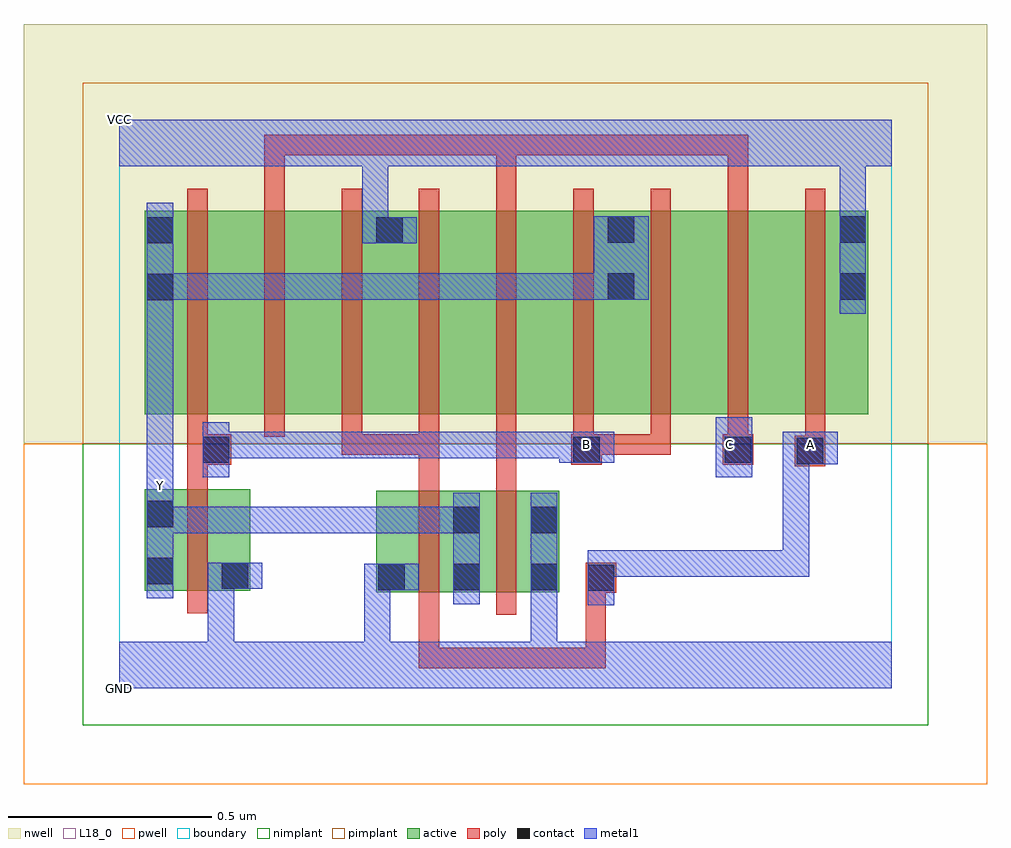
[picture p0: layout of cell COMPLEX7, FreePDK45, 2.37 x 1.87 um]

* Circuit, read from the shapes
.subckt COMPLEX7 A B C GND VCC Y
M1 GND B Y VSUBS nfet w=0.25u l=0.05u
M2 Y A GND VSUBS nfet w=0.25u l=0.05u
M3 GND C Y VSUBS nfet w=0.25u l=0.05u
M4 n1 B Y n2 pfet w=0.5u l=0.05u
M5 n3 C n1 n2 pfet w=0.5u l=0.05u
M6 VCC A n3 n2 pfet w=0.5u l=0.05u
M7 n4 A VCC n2 pfet w=0.5u l=0.05u
M8 n5 C n4 n2 pfet w=0.5u l=0.05u
M9 Y B n5 n2 pfet w=0.5u l=0.05u
M10 n6 B Y n2 pfet w=0.5u l=0.05u
M11 n7 C n6 n2 pfet w=0.5u l=0.05u
M12 VCC A n7 n2 pfet w=0.5u l=0.05u
.ends

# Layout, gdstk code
import gdstk
lib = gdstk.Library(unit=1e-6, precision=1e-09)
def R(c, l, rs):  # rectangles x0, y0, x1, y1
    for r in rs: c.add(gdstk.rectangle(r[:2], r[2:], *l))
def A(c, l, x, y, w, h, nx, ny, dx, dy):  # array of equal rectangles
    R(c, l, [(x+i*dx, y+j*dy, x+i*dx+w, y+j*dy+h) for i in range(nx) for j in range(ny)])
active = (1, 0)
pwell = (2, 0)
nwell = (3, 0)
nimplant = (4, 0)
pimplant = (5, 0)
poly = (9, 0)
contact = (10, 0)
metal1 = (11, 0)
L18_0 = (18, 0)
boundary = (235, 0)

complex7 = lib.new_cell('COMPLEX7')
A(complex7, active, 0.287, 0.675, 0.19, 0.5, 3, 1, 0.57, 0)
A(complex7, active, 0.477, 0.675, 0.225, 0.5, 3, 1, 0.57, 0)
R(complex7, active, [(0.632,0.237,0.707,0.487), (0.632,0.237,0.892,0.487), (0.817,0.237,1.082,0.487), (0.817,0.237,0.892,0.452), (1.007,0.237,1.082,0.487), (0.062,0.24,0.137,0.49), (0.062,0.24,0.322,0.49), (0.247,0.24,0.322,0.49), (0.062,0.675,0.287,1.175), (0.062,0.675,0.137,1.165), (0.627,0.675,0.857,1.175), (1.197,0.675,1.427,1.175), (1.767,0.675,1.842,1.167), (0.627,0.682,0.702,1.175), (1.197,0.682,1.272,1.175)])
R(complex7, pwell, [(-0.235,-0.235,2.135,0.602)])
R(complex7, nwell, [(-0.235,0.602,2.135,1.635)])
R(complex7, nimplant, [(-0.09,-0.09,1.99,0.602)])
R(complex7, pimplant, [(-0.09,0.602,1.99,1.49)])
A(complex7, poly, 0.547, 0.575, 0.05, 0.05, 3, 1, 0.19, 0)
A(complex7, poly, 0.547, 0.575, 0.05, 0.095, 6, 1, 0.19, 0)
A(complex7, poly, 0.167, 0.62, 0.05, 0.61, 9, 1, 0.19, 0)
A(complex7, poly, 0.357, 1.18, 0.05, 0.182, 3, 1, 0.57, 0)
R(complex7, poly, [(0.737,0.05,0.787,0.232), (0.737,0.05,0.787,0.1), (0.737,0.05,0.787,0.1), (0.737,0.05,0.787,0.1), (0.737,0.05,1.03,0.1), (0.98,0.05,1.03,0.1), (0.98,0.05,1.03,0.1), (0.98,0.05,1.03,0.1), (0.98,0.05,1.197,0.1), (1.147,0.05,1.197,0.1), (1.147,0.05,1.197,0.285), (0.737,0.182,0.787,0.542), (0.927,0.182,0.977,0.542), (0.167,0.185,0.217,0.545), (1.147,0.235,1.222,0.31), (0.737,0.492,0.787,0.625), (0.927,0.492,0.977,0.625), (0.167,0.495,0.217,0.6), (1.662,0.547,1.737,0.622), (0.167,0.55,0.275,0.625), (1.112,0.55,1.187,0.625), (1.485,0.55,1.56,0.625), (1.687,0.572,1.737,0.67), (0.167,0.575,0.217,0.67), (0.547,0.575,0.597,0.625), (0.547,0.575,0.597,0.625), (0.547,0.575,0.787,0.625), (1.137,0.575,1.357,0.625), (1.307,0.575,1.357,0.625), (1.307,0.575,1.357,0.625), (1.307,0.575,1.357,0.625), (0.357,1.312,0.407,1.362), (0.357,1.312,0.407,1.362), (0.357,1.312,0.407,1.362), (0.357,1.312,0.655,1.362), (0.605,1.312,0.655,1.362), (0.605,1.312,0.655,1.362), (0.605,1.312,0.655,1.362), (0.605,1.312,0.845,1.362), (0.795,1.312,0.845,1.362), (0.795,1.312,0.845,1.362), (0.795,1.312,0.845,1.362), (0.795,1.312,0.977,1.362), (0.927,1.312,0.977,1.362), (0.927,1.312,0.977,1.362), (0.927,1.312,0.977,1.362), (0.927,1.312,1.187,1.362), (1.137,1.312,1.187,1.362), (1.137,1.312,1.187,1.362), (1.137,1.312,1.187,1.362), (1.137,1.312,1.32,1.362), (1.27,1.312,1.32,1.362), (1.27,1.312,1.547,1.362), (1.497,1.312,1.547,1.362), (1.497,1.312,1.547,1.362), (1.497,1.312,1.547,1.362)])
R(complex7, contact, [(1.152,0.24,1.217,0.305), (0.637,0.242,0.702,0.307), (0.822,0.242,0.887,0.307), (1.012,0.242,1.077,0.307), (0.252,0.245,0.317,0.31), (0.067,0.257,0.132,0.322), (0.822,0.382,0.887,0.447), (1.012,0.382,1.077,0.447), (0.067,0.397,0.132,0.462), (1.667,0.552,1.732,0.617), (0.205,0.555,0.27,0.62), (1.117,0.555,1.182,0.62), (1.49,0.555,1.555,0.62), (0.067,0.955,0.132,1.02), (1.202,0.957,1.267,1.022), (1.772,0.957,1.837,1.022), (0.067,1.095,0.132,1.16), (0.632,1.095,0.697,1.16), (1.202,1.097,1.267,1.162), (1.772,1.097,1.837,1.162)])
R(complex7, metal1, [(0,0,1.9,0.115), (0.217,0.05,0.282,0.115), (0.217,0.05,0.282,0.115), (0.217,0.05,0.282,0.31), (0.602,0.05,0.667,0.115), (0.602,0.05,0.667,0.115), (0.602,0.05,0.667,0.307), (1.012,0.05,1.077,0.115), (1.012,0.05,1.077,0.115), (1.012,0.05,1.077,0.115), (1.012,0.05,1.077,0.115), (1.012,0.05,1.077,0.272), (1.152,0.205,1.217,0.34), (0.822,0.207,0.887,0.482), (1.012,0.207,1.077,0.482), (0.067,0.222,0.132,0.497), (0.602,0.242,0.667,0.307), (0.602,0.242,0.667,0.307), (0.602,0.242,0.737,0.307), (0.217,0.245,0.282,0.31), (0.217,0.245,0.282,0.31), (0.217,0.245,0.352,0.31), (1.152,0.275,1.217,0.34), (1.152,0.275,1.217,0.34), (1.152,0.275,1.217,0.34), (1.152,0.275,1.217,0.34), (1.152,0.275,1.37,0.34), (1.305,0.275,1.37,0.34), (1.305,0.275,1.537,0.34), (1.472,0.275,1.537,0.34), (1.472,0.275,1.537,0.34), (1.472,0.275,1.537,0.34), (1.472,0.275,1.697,0.34), (1.632,0.275,1.697,0.34), (1.632,0.275,1.697,0.617), (0.067,0.382,0.132,0.447), (0.067,0.382,0.132,0.447), (0.067,0.382,0.27,0.447), (0.205,0.382,0.27,0.447), (0.205,0.382,0.42,0.447), (0.355,0.382,0.42,0.447), (0.355,0.382,0.42,0.447), (0.355,0.382,0.42,0.447), (0.355,0.382,0.735,0.447), (0.67,0.382,0.735,0.447), (0.67,0.382,0.735,0.447), (0.67,0.382,0.735,0.447), (0.67,0.382,0.872,0.447), (0.807,0.382,0.872,0.447), (0.807,0.382,0.887,0.447), (0.067,0.432,0.132,0.497), (0.067,0.432,0.132,0.567), (0.067,0.502,0.132,0.985), (0.205,0.52,0.27,0.655), (1.467,0.52,1.557,0.667), (1.632,0.552,1.697,0.617), (1.632,0.552,1.697,0.617), (1.632,0.552,1.767,0.632), (1.082,0.555,1.217,0.632), (0.205,0.567,0.27,0.632), (0.205,0.567,0.27,0.632), (0.205,0.567,0.42,0.632), (0.355,0.567,0.42,0.632), (0.355,0.567,0.42,0.632), (0.355,0.567,0.42,0.632), (0.355,0.567,0.557,0.632), (0.492,0.567,0.557,0.632), (0.492,0.567,0.557,0.632), (0.492,0.567,0.557,0.632), (0.492,0.567,0.872,0.632), (0.807,0.567,0.872,0.632), (0.807,0.567,0.872,0.632), (0.807,0.567,0.872,0.632), (0.807,0.567,1.01,0.632), (0.945,0.567,1.01,0.632), (0.945,0.567,1.01,0.632), (0.945,0.567,1.01,0.632), (0.945,0.567,1.147,0.632), (0.067,0.92,0.132,1.195), (1.772,0.922,1.837,1.197), (0.067,0.957,0.132,1.022), (0.067,0.957,0.132,1.022), (0.067,0.957,0.27,1.022), (0.205,0.957,0.27,1.022), (0.205,0.957,0.407,1.022), (0.342,0.957,0.407,1.022), (0.342,0.957,0.407,1.022), (0.342,0.957,0.407,1.022), (0.342,0.957,0.735,1.022), (0.67,0.957,0.735,1.022), (0.67,0.957,0.735,1.022), (0.67,0.957,0.735,1.022), (0.67,0.957,0.872,1.022), (0.807,0.957,0.872,1.022), (0.807,0.957,0.872,1.022), (0.807,0.957,0.872,1.022), (0.807,0.957,1.01,1.022), (0.945,0.957,1.01,1.022), (0.945,0.957,1.01,1.022), (0.945,0.957,1.01,1.022), (0.945,0.957,1.232,1.022), (1.167,0.957,1.232,1.022), (1.167,0.957,1.232,1.022), (1.167,0.957,1.302,1.162), (0.597,1.095,0.662,1.16), (0.597,1.095,0.662,1.16), (0.597,1.095,0.662,1.35), (0.597,1.095,0.732,1.16), (1.772,1.132,1.837,1.35), (0,1.285,1.9,1.4), (1.772,1.285,1.837,1.35), (1.772,1.285,1.837,1.35)])
R(complex7, L18_0, [(0,0,1.9,0.115), (0.217,0.05,0.282,0.115), (0.217,0.05,0.282,0.115), (0.217,0.05,0.282,0.31), (0.602,0.05,0.667,0.115), (0.602,0.05,0.667,0.115), (0.602,0.05,0.667,0.307), (1.012,0.05,1.077,0.115), (1.012,0.05,1.077,0.115), (1.012,0.05,1.077,0.115), (1.012,0.05,1.077,0.115), (1.012,0.05,1.077,0.272), (1.152,0.205,1.217,0.34), (0.822,0.207,0.887,0.482), (1.012,0.207,1.077,0.482), (0.067,0.222,0.132,0.497), (0.602,0.242,0.667,0.307), (0.602,0.242,0.667,0.307), (0.602,0.242,0.737,0.307), (0.217,0.245,0.282,0.31), (0.217,0.245,0.282,0.31), (0.217,0.245,0.352,0.31), (1.152,0.275,1.217,0.34), (1.152,0.275,1.217,0.34), (1.152,0.275,1.217,0.34), (1.152,0.275,1.217,0.34), (1.152,0.275,1.37,0.34), (1.305,0.275,1.37,0.34), (1.305,0.275,1.537,0.34), (1.472,0.275,1.537,0.34), (1.472,0.275,1.537,0.34), (1.472,0.275,1.537,0.34), (1.472,0.275,1.697,0.34), (1.632,0.275,1.697,0.34), (1.632,0.275,1.697,0.617), (0.067,0.382,0.132,0.447), (0.067,0.382,0.132,0.447), (0.067,0.382,0.27,0.447), (0.205,0.382,0.27,0.447), (0.205,0.382,0.42,0.447), (0.355,0.382,0.42,0.447), (0.355,0.382,0.42,0.447), (0.355,0.382,0.42,0.447), (0.355,0.382,0.735,0.447), (0.67,0.382,0.735,0.447), (0.67,0.382,0.735,0.447), (0.67,0.382,0.735,0.447), (0.67,0.382,0.872,0.447), (0.807,0.382,0.872,0.447), (0.807,0.382,0.887,0.447), (0.067,0.432,0.132,0.567), (0.067,0.432,0.132,0.497), (0.067,0.467,0.132,0.532), (0.067,0.502,0.132,0.985), (0.205,0.52,0.27,0.655), (1.467,0.52,1.557,0.667), (1.632,0.552,1.697,0.617), (1.632,0.552,1.697,0.617), (1.632,0.552,1.767,0.632), (1.082,0.555,1.217,0.632), (0.205,0.567,0.27,0.632), (0.205,0.567,0.27,0.632), (0.205,0.567,0.42,0.632), (0.355,0.567,0.42,0.632), (0.355,0.567,0.42,0.632), (0.355,0.567,0.42,0.632), (0.355,0.567,0.557,0.632), (0.492,0.567,0.557,0.632), (0.492,0.567,0.557,0.632), (0.492,0.567,0.557,0.632), (0.492,0.567,0.872,0.632), (0.807,0.567,0.872,0.632), (0.807,0.567,0.872,0.632), (0.807,0.567,0.872,0.632), (0.807,0.567,1.01,0.632), (0.945,0.567,1.01,0.632), (0.945,0.567,1.01,0.632), (0.945,0.567,1.01,0.632), (0.945,0.567,1.147,0.632), (1.117,0.567,1.182,0.632), (1.467,0.567,1.532,0.632), (1.667,0.567,1.732,0.632), (0.067,0.92,0.132,1.195), (1.772,0.922,1.837,1.197), (0.067,0.957,0.132,1.022), (0.067,0.957,0.132,1.022), (0.067,0.957,0.27,1.022), (0.205,0.957,0.27,1.022), (0.205,0.957,0.407,1.022), (0.342,0.957,0.407,1.022), (0.342,0.957,0.407,1.022), (0.342,0.957,0.407,1.022), (0.342,0.957,0.735,1.022), (0.67,0.957,0.735,1.022), (0.67,0.957,0.735,1.022), (0.67,0.957,0.735,1.022), (0.67,0.957,0.872,1.022), (0.807,0.957,0.872,1.022), (0.807,0.957,0.872,1.022), (0.807,0.957,0.872,1.022), (0.807,0.957,1.01,1.022), (0.945,0.957,1.01,1.022), (0.945,0.957,1.01,1.022), (0.945,0.957,1.01,1.022), (0.945,0.957,1.232,1.022), (1.167,0.957,1.232,1.022), (1.167,0.957,1.232,1.022), (1.167,0.957,1.302,1.162), (0.597,1.095,0.662,1.16), (0.597,1.095,0.662,1.16), (0.597,1.095,0.732,1.16), (0.597,1.095,0.662,1.35), (1.772,1.132,1.837,1.35), (0,1.285,1.9,1.4), (1.772,1.285,1.837,1.35), (1.772,1.285,1.837,1.35)])
R(complex7, boundary, [(0,0,1.9,1.4)])
complex7.add(gdstk.Label('A', (1.7,0.6), layer=11, texttype=0))
complex7.add(gdstk.Label('B', (1.15,0.6), layer=11, texttype=0))
complex7.add(gdstk.Label('C', (1.5,0.6), layer=11, texttype=0))
complex7.add(gdstk.Label('Y', (0.1,0.5), layer=11, texttype=0))
complex7.add(gdstk.Label('VCC', (0,1.4), layer=11, texttype=0))
complex7.add(gdstk.Label('GND', (0,0), layer=11, texttype=0))

lib.write_gds('COMPLEX7.gds')
